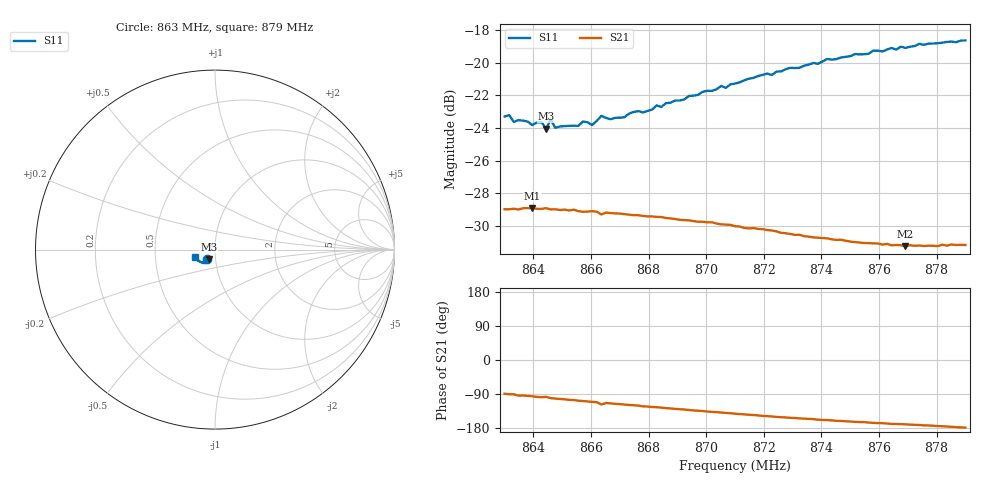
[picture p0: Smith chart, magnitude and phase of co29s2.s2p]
# HZ S RI R 50
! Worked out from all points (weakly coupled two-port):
!   101 points, 863 MHz to 879 MHz, reference 50 ohm
!   highest |S21| = -28.90 dB at 863.96 MHz (marker M1); lowest = -31.2 dB at 876.92 MHz (marker M2)
!   lowest |S11| = -24.0 dB at 864.44 MHz (marker M3), VSWR 1.13, Z = 46.4 - j4.86 ohm
!   |S11| at or under -10 dB: start of sweep to end of sweep
!   S12 and S22 are empty: the file has one direction only
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8.63e8  -0.0451 -0.0516  0.000653 -0.0356  0 0  0 0
8.6316e8  -0.047 -0.0507  -0.000202 -0.0356  0 0  0 0
8.6332e8  -0.0408 -0.0518  -0.000316 -0.0357  0 0  0 0
8.6364e8  -0.0431 -0.0507  -0.00228 -0.0358  0 0  0 0
8.6396e8  -0.0394 -0.051  -0.00359 -0.0357  0 0  0 0
8.6428e8  -0.0384 -0.0534  -0.00511 -0.0353  0 0  0 0
8.6444e8  -0.0351 -0.0522  -0.00451 -0.0356  0 0  0 0
8.646e8  -0.0399 -0.0539  -0.00658 -0.0349  0 0  0 0
8.6476e8  -0.0362 -0.0519  -0.00725 -0.0348  0 0  0 0
8.6556e8  -0.0343 -0.0542  -0.0105 -0.0335  0 0  0 0
8.6572e8  -0.0346 -0.0564  -0.011 -0.0332  0 0  0 0
8.6604e8  -0.0324 -0.0558  -0.0123 -0.0329  0 0  0 0
8.6636e8  -0.0372 -0.0579  -0.0158 -0.0305  0 0  0 0
8.6668e8  -0.0331 -0.0584  -0.0143 -0.0315  0 0  0 0
8.6716e8  -0.0322 -0.0601  -0.0159 -0.0305  0 0  0 0
8.6828e8  -0.0346 -0.0655  -0.0192 -0.0277  0 0  0 0
8.6844e8  -0.0351 -0.0642  -0.0196 -0.0274  0 0  0 0
8.71e8  -0.0462 -0.073  -0.0248 -0.0196  0 0  0 0
8.7372e8  -0.0662 -0.0749  -0.0267 -0.0118  0 0  0 0
8.7644e8  -0.0912 -0.0634  -0.0271 -0.00543  0 0  0 0
8.7692e8  -0.0943 -0.0588  -0.027 -0.00491  0 0  0 0
8.79e8  -0.1099 -0.0404  -0.0277 -0.000735  0 0  0 0
